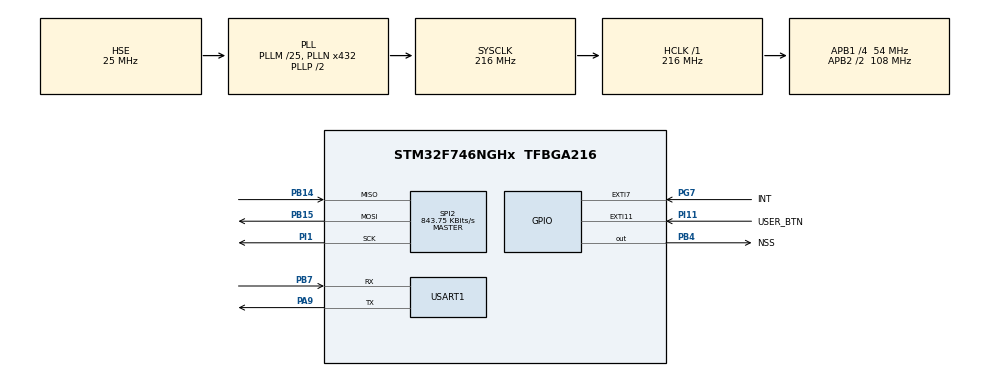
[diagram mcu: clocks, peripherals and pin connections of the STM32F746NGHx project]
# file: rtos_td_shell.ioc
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FREERTOS.Tasks01=defaultTask,0,128,StartDefaultTask,Default,NULL,Dynamic,NULL,NULL
FREERTOS.configCHECK_FOR_STACK_OVERFLOW=2
FREERTOS.configGENERATE_RUN_TIME_STATS=1
FREERTOS.configRECORD_STACK_HIGH_ADDRESS=1
FREERTOS.configTOTAL_HEAP_SIZE=15360
FREERTOS.configUSE_NEWLIB_REENTRANT=1
FREERTOS.configUSE_STATS_FORMATTING_FUNCTIONS=1
FREERTOS.configUSE_TRACE_FACILITY=1
Mcu.Family=STM32F7
Mcu.Name=STM32F746NGHx
Mcu.Package=TFBGA216
NVIC.PriorityGroup=NVIC_PRIORITYGROUP_4
NVIC.TIM6_DAC_IRQn=true\:15\:0\:false\:false\:true\:false\:false\:true\:true
NVIC.TimeBase=TIM6_DAC_IRQn
NVIC.TimeBaseIP=TIM6
NVIC.USART1_IRQn=true\:5\:0\:false\:false\:true\:true\:true\:true\:true
PA13.Mode=Serial_Wire
PA13.Signal=SYS_JTMS-SWDIO
PA14.Mode=Serial_Wire
PA14.Signal=SYS_JTCK-SWCLK
PA9.Mode=Asynchronous
PA9.Signal=USART1_TX
PB14.Mode=Full_Duplex_Master
PB14.Signal=SPI2_MISO
PB15.Mode=Full_Duplex_Master
PB15.Signal=SPI2_MOSI
PB4.GPIO_Label=NSS
PB4.PinState=GPIO_PIN_SET
PB4.Signal=GPIO_Output
PB4.Stacked=true
PB7.Mode=Asynchronous
PB7.Signal=USART1_RX
PG7.GPIO_Label=INT
PG7.Signal=GPXTI7
PH0/OSC_IN.Mode=HSE-External-Oscillator
PH0/OSC_IN.Signal=RCC_OSC_IN
PH1/OSC_OUT.Mode=HSE-External-Oscillator
PH1/OSC_OUT.Signal=RCC_OSC_OUT
PI1.Mode=Full_Duplex_Master
PI1.Signal=SPI2_SCK
PI11.GPIO_Label=USER_BTN
PI11.Signal=GPXTI11
ProjectManager.HeapSize=0x00
ProjectManager.StackSize=0x400
ProjectManager.TargetToolchain=STM32CubeIDE
RCC.AHBFreq_Value=216000000
RCC.APB1CLKDivider=RCC_HCLK_DIV4
RCC.APB1Freq_Value=54000000
RCC.APB1TimFreq_Value=108000000
RCC.APB2CLKDivider=RCC_HCLK_DIV2
RCC.APB2Freq_Value=108000000
RCC.APB2TimFreq_Value=216000000
RCC.CortexFreq_Value=216000000
RCC.HCLKFreq_Value=216000000
RCC.HSE_VALUE=25000000
RCC.HSI_VALUE=16000000
RCC.LSE_VALUE=32768
RCC.PLLM=25
RCC.PLLN=432
RCC.PLLSourceVirtual=RCC_PLLSOURCE_HSE
RCC.SYSCLKFreq_VALUE=216000000
RCC.SYSCLKSource=RCC_SYSCLKSOURCE_PLLCLK
RCC.USBFreq_Value=216000000
RCC.VCOOutputFreq_Value=432000000
SPI2.BaudRatePrescaler=SPI_BAUDRATEPRESCALER_64
SPI2.CLKPhase=SPI_PHASE_2EDGE
SPI2.CLKPolarity=SPI_POLARITY_HIGH
SPI2.CalculateBaudRate=843.75 KBits/s
SPI2.DataSize=SPI_DATASIZE_8BIT
SPI2.Direction=SPI_DIRECTION_2LINES
SPI2.Mode=SPI_MODE_MASTER
SPI2.VirtualType=VM_MASTER
TIM2.Prescaler=10800
USART1.VirtualMode-Asynchronous=VM_ASYNC
VP_FREERTOS_VS_CMSIS_V1.Mode=CMSIS_V1
VP_SYS_VS_tim6.Mode=TIM6
VP_TIM2_VS_ClockSourceINT.Mode=Internal
board=STM32F746G-DISCO

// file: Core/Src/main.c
/* USER CODE BEGIN Header */
/**
 ******************************************************************************
 * @file           : main.c
 * @brief          : Main program body
 ******************************************************************************
 * @attention
 *
 * Copyright (c) 2022 STMicroelectronics.
 * All rights reserved.
 *
 * This software is licensed under terms that can be found in the LICENSE file
 * in the root directory of this software component.
 * If no LICENSE file comes with this software, it is provided AS-IS.
 *
 ******************************************************************************
 */
/* USER CODE END Header */
#include "main.h"
#include "cmsis_os.h"
#include "spi.h"
#include "tim.h"
#include "usart.h"
#include "gpio.h"

/* USER CODE BEGIN Includes */
#include <stdio.h>
#include <stdlib.h>
#include "shell.h"
#include "adxl.h"
/* USER CODE END Includes */

/* USER CODE BEGIN PD */
#define TASK_SHELL_STACK_DEPTH 512
#define TASK_SHELL_PRIORITY 1
/* USER CODE END PD */

/* USER CODE BEGIN PV */
TaskHandle_t h_task_shell = NULL;

/* USER CODE END PV */

void SystemClock_Config(void);
void MX_FREERTOS_Init(void);

/* USER CODE BEGIN 0 */

SemaphoreHandle_t sem1;
TaskHandle_t handle_blink_led, handle_spam, tache1, tache2, tache3 , tache4, tache5, handle_stats;
int delay_led, delay_spam;
char * message;

int __io_putchar(int ch)
{
	HAL_UART_Transmit(&huart1, (uint8_t*)&ch, 1, HAL_MAX_DELAY);

	return ch;
}

void ftache1 (void * unused)
{
	for(;;)
	{
		//		printf("Tache 1 \r\n");
		vTaskDelay(1);
	}
}

void task_spam (void * unused)
{
	vTaskSuspend(0); //Suspend la tache en cours (0 veux dire ca)

	for(;;)
	{
		printf("%s\r\n", message);
		vTaskDelay(delay_spam);
	}
}

void task_blink_led (void * unused)
{
	vTaskSuspend(0); //Suspend la tache en cours (0 veux dire ca)

	for(;;)
	{
		//		HAL_GPIO_TogglePin(LED_GPIO_Port,LED_Pin);
		//		printf("Je clignote\r\n");
		vTaskDelay(delay_led);
	}
}

void task_stats (void * unused)
{
	vTaskSuspend(0); //Suspend la tache en cours (0 veux dire ca)

	for(;;)
	{
		//		HAL_GPIO_TogglePin(LED_GPIO_Port,LED_Pin);
		//		printf("Je clignote\r\n");
		vTaskDelay(1);
	}
}

void HAL_UART_RxCpltCallback(UART_HandleTypeDef *huart)
{
	if (huart->Instance == USART1)
	{
		shell_uart_receive_irq_cb();	// C'est la fonction qui donne le sémaphore!
	}
}

int fonction(int argc, char ** argv)
{
	printf("Je suis une fonction bidon\r\n");

	printf("argc = %d\r\n", argc);

	for (int i = 0 ; i < argc ; i++)
	{
		printf("arg %d = %s\r\n", i, argv[i]);
	}

	return 0;
}

int addition(int argc, char ** argv)
{
	if (argc == 3)
	{
		int a, b;
		a = atoi(argv[1]);
		b = atoi(argv[2]);
		printf("%d + %d = %d\r\n", a, b, a+b);

		return 0;
	}
	else
	{
		printf("Erreur, pas le bon nombre d'arguments\r\n");
		return -1;
	}
}

int led(int argc, char ** argv)
{
	int delay = atoi(argv[1]); // Conversion chaine de caractère (ASCII) vers Integer
	if (delay == 0)
	{
		//		HAL_GPIO_WritePin(LED_GPIO_Port,LED_Pin, 0);
		printf("Je m'éteins\r\n");
		vTaskSuspend(handle_blink_led); //Suspend la tache
	}
	else
	{
		delay_led = delay;
		vTaskResume(handle_blink_led); //Reprend la tache la ou elle en etait

	}
}

int spam(int argc, char ** argv){

	message = argv[1];

	if (strcmp(message, "stop")==0)
	{
		vTaskSuspend(handle_spam);
	}
	else
	{
		if (argc < 3)
		{
			printf("error args\r\n");
			return -1;
		}
		delay_spam = atoi(argv[2]);
		vTaskResume(handle_spam);
	}

	return 0;
}

//Création d'un buffer de 400 octets pour écrire dedans
char text_buffer[400];

int stats(int argc, char ** argv){
	//écrit les données dans le buffer
	vTaskGetRunTimeStats(text_buffer);
	printf("%s\r\n", text_buffer);

	vTaskList(text_buffer);
	printf("%s\r\n", text_buffer);

	return 0;
}

HAL_GPIO_EXTI_Callback(uint16_t GPIO_Pin)
{
	// TODO
}

int SPI(int argc, char ** argv){
	uint8_t address_DEVID = 0x00, address_INT_enable = 0x2E, address_PWR_CTL = 0x2D;
	uint8_t data = 0, data_INT_enable = 0, data_PWR_CTL = 0;
	uint16_t size = 1;

	uint8_t data6[6];

	receive(address_DEVID, &data, size);

	printf("DEVID = 0x%X\r\n", data);

	uint8_t test = 0;

	transmit (address_INT_enable, &data_INT_enable, size);
	transmit (address_PWR_CTL, &data_PWR_CTL, size);

	receive(address_INT_enable, &test, 1);
	printf("INT_Enable = %x\r\n", test);
	receive(address_PWR_CTL, &test, 1);
	printf("PWR_CTL = %x\r\n", test);

	receive(address_INT_enable, &data_INT_enable, size);
	data_INT_enable = data_INT_enable | 0x80;

	receive(address_PWR_CTL, &data_PWR_CTL, size);
	data_PWR_CTL = data_PWR_CTL | 0x08;

	transmit (address_INT_enable, &data_INT_enable, size);
	transmit (address_PWR_CTL, &data_PWR_CTL, size);

	receive(address_INT_enable, &test, 1);
	printf("INT_Enable = %x\r\n", test);
	receive(address_PWR_CTL, &test, 1);
	printf("PWR_CTL = %x\r\n", test);

	//	for (int i = 0; i < 4; i++){

	while (HAL_GPIO_ReadPin(INT_GPIO_Port, INT_Pin) == 0);	// polling sur INT1

	printf("INT1 detected\r\n");

	int16_t acc_x = (int16_t)(data6[0]) | (int16_t)(data6[1])<<8;
	int16_t acc_y = (int16_t)(data6[2]) | (int16_t)(data6[3])<<8;
	int16_t acc_z = (int16_t)(data6[4]) | (int16_t)(data6[5])<<8;

	printf("Transmission de data : %d %d %d\r\n", acc_x, acc_y, acc_z);

	//	}

	return 0;
}

void task_shell(void * unused)
{
	shell_init();
	shell_add('f', fonction, "Une fonction inutile");
	shell_add('a', addition, "Effectue une somme");
	shell_add('l', led, "Faire clignoter une LED");
	shell_add('s', spam, "Envoyer du text dans la liaison serie");
	shell_add('t', stats, "Temps passé dans chaque tache");
	shell_add('d', SPI, "test la liaison SPI");
	shell_run();	// boucle infinie
}

//Tache appelé automatiquement si le systeme detecte un overflow
void vApplicationStackOverflowHook( TaskHandle_t xTask,
		signed char *pcTaskName )
{
	// allumer led
	//	HAL_GPIO_WritePin(LED_GPIO_Port,LED_Pin, 1);
	Error_Handler();
}

//Active le timer 2
void configureTimerForRunTimeStats(void)
{
	HAL_TIM_Base_Start(&htim2);
}

//Renvois la valeur du timer
unsigned long getRunTimeCounterValue(void)
{
	return __HAL_TIM_GET_COUNTER(&htim2);
}

/* USER CODE END 0 */

int main(void)
{

	/* MCU Configuration--------------------------------------------------------*/

	/* Reset of all peripherals, Initializes the Flash interface and the Systick. */
	HAL_Init();

	/* Configure the system clock */
	SystemClock_Config();

	/* Initialize all configured peripherals */
	MX_GPIO_Init();
	MX_USART1_UART_Init();
	MX_TIM2_Init();
	MX_SPI2_Init();
	/* USER CODE BEGIN 2 */

	sem1 = xSemaphoreCreateBinary();

	//Creation de tache pour depassement du tas
	/*while(1)
	{
	 int i;
	if( xTaskCreate(ftache1,	"BLINK_LED", 256, NULL,	3, &tache1) != pdPASS)
		{
			printf("Error creating task %d \r\n", i);
			Error_Handler();
		}
	i++;
	}*/

	//Creation de tache pour depassement de la pile
	xTaskCreate(ftache1,
			"tache1",
			50, //Taille de la pile
			NULL, //parameter
			0, //Priority
			&tache1 //Allocation de la mémoire pour créer l'objet
	);

	xTaskCreate(task_stats,
			"stats",
			50, //Taille de la pile
			NULL, //parameter
			0, //Priority
			&tache1 //Allocation de la mémoire pour créer l'objet
	);

	/*xTaskCreate(task_blink_led,
				"BLINK_LED",
				256, //Taille de la pile
				NULL, //parameter
				3, //Priority
				&handle_blink_led //Allocation de la mémoire pour créer l'objet
		);*/

	xTaskCreate(task_spam,
			"SPAM",
			256, //Taille de la pile
			NULL, //parameter
			2, //Priority
			&handle_spam //Allocation de la mémoire pour créer l'objet
	);

	if (xTaskCreate(task_shell, "Shell", TASK_SHELL_STACK_DEPTH, NULL, TASK_SHELL_PRIORITY, &h_task_shell) != pdPASS)
	{
		printf("Error creating task shell\r\n");
		Error_Handler();
	}

	vTaskStartScheduler();
	/* USER CODE END 2 */

	/* Call init function for freertos objects (in freertos.c) */
	MX_FREERTOS_Init();

	/* Start scheduler */
	osKernelStart();

	/* We should never get here as control is now taken by the scheduler */
	/* Infinite loop */
	while (1)
	{

	}
}

void SystemClock_Config(void)
{
	RCC_OscInitTypeDef RCC_OscInitStruct = {0};
	RCC_ClkInitTypeDef RCC_ClkInitStruct = {0};

	/** Configure the main internal regulator output voltage
	 */
	__HAL_RCC_PWR_CLK_ENABLE();
	__HAL_PWR_VOLTAGESCALING_CONFIG(PWR_REGULATOR_VOLTAGE_SCALE1);

	/** Initializes the RCC Oscillators according to the specified parameters
	 * in the RCC_OscInitTypeDef structure.
	 */
	RCC_OscInitStruct.OscillatorType = RCC_OSCILLATORTYPE_HSE;
	RCC_OscInitStruct.HSEState = RCC_HSE_ON;
	RCC_OscInitStruct.PLL.PLLState = RCC_PLL_ON;
	RCC_OscInitStruct.PLL.PLLSource = RCC_PLLSOURCE_HSE;
	RCC_OscInitStruct.PLL.PLLM = 25;
	RCC_OscInitStruct.PLL.PLLN = 432;
	RCC_OscInitStruct.PLL.PLLP = RCC_PLLP_DIV2;
	RCC_OscInitStruct.PLL.PLLQ = 2;
	if (HAL_RCC_OscConfig(&RCC_OscInitStruct) != HAL_OK)
	{
		Error_Handler();
	}

	/** Activate the Over-Drive mode
	 */
	if (HAL_PWREx_EnableOverDrive() != HAL_OK)
	{
		Error_Handler();
	}

	/** Initializes the CPU, AHB and APB buses clocks
	 */
	RCC_ClkInitStruct.ClockType = RCC_CLOCKTYPE_HCLK|RCC_CLOCKTYPE_SYSCLK
			|RCC_CLOCKTYPE_PCLK1|RCC_CLOCKTYPE_PCLK2;
	RCC_ClkInitStruct.SYSCLKSource = RCC_SYSCLKSOURCE_PLLCLK;
	RCC_ClkInitStruct.AHBCLKDivider = RCC_SYSCLK_DIV1;
	RCC_ClkInitStruct.APB1CLKDivider = RCC_HCLK_DIV4;
	RCC_ClkInitStruct.APB2CLKDivider = RCC_HCLK_DIV2;

	if (HAL_RCC_ClockConfig(&RCC_ClkInitStruct, FLASH_LATENCY_7) != HAL_OK)
	{
		Error_Handler();
	}
}

void HAL_TIM_PeriodElapsedCallback(TIM_HandleTypeDef *htim)
{
	if (htim->Instance == TIM6) {
		HAL_IncTick();
	}
}

void Error_Handler(void)
{
	__disable_irq();
	while (1)
	{
	}
}

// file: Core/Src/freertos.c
/* USER CODE BEGIN Header */
/**
  ******************************************************************************
  * File Name          : freertos.c
  * Description        : Code for freertos applications
  ******************************************************************************
  * @attention
  *
  * Copyright (c) 2022 STMicroelectronics.
  * All rights reserved.
  *
  * This software is licensed under terms that can be found in the LICENSE file
  * in the root directory of this software component.
  * If no LICENSE file comes with this software, it is provided AS-IS.
  *
  ******************************************************************************
  */
/* USER CODE END Header */

#include "FreeRTOS.h"
#include "task.h"
#include "main.h"
#include "cmsis_os.h"

osThreadId defaultTaskHandle;

void StartDefaultTask(void const * argument);

void MX_FREERTOS_Init(void); /* (MISRA C 2004 rule 8.1) */

/* GetIdleTaskMemory prototype (linked to static allocation support) */
void vApplicationGetIdleTaskMemory( StaticTask_t **ppxIdleTaskTCBBuffer, StackType_t **ppxIdleTaskStackBuffer, uint32_t *pulIdleTaskStackSize );

/* Hook prototypes */
void configureTimerForRunTimeStats(void);
unsigned long getRunTimeCounterValue(void);
void vApplicationStackOverflowHook(xTaskHandle xTask, signed char *pcTaskName);

/* USER CODE BEGIN 1 */
/* Functions needed when configGENERATE_RUN_TIME_STATS is on */
__weak void configureTimerForRunTimeStats(void)
{

}

__weak unsigned long getRunTimeCounterValue(void)
{
return 0;
}
/* USER CODE END 1 */

/* USER CODE BEGIN 4 */
__weak void vApplicationStackOverflowHook(xTaskHandle xTask, signed char *pcTaskName)
{
   /* Run time stack overflow checking is performed if
   configCHECK_FOR_STACK_OVERFLOW is defined to 1 or 2. This hook function is
   called if a stack overflow is detected. */
}
/* USER CODE END 4 */

/* USER CODE BEGIN GET_IDLE_TASK_MEMORY */
static StaticTask_t xIdleTaskTCBBuffer;
static StackType_t xIdleStack[configMINIMAL_STACK_SIZE];

void vApplicationGetIdleTaskMemory( StaticTask_t **ppxIdleTaskTCBBuffer, StackType_t **ppxIdleTaskStackBuffer, uint32_t *pulIdleTaskStackSize )
{
  *ppxIdleTaskTCBBuffer = &xIdleTaskTCBBuffer;
  *ppxIdleTaskStackBuffer = &xIdleStack[0];
  *pulIdleTaskStackSize = configMINIMAL_STACK_SIZE;
  /* place for user code */
}
/* USER CODE END GET_IDLE_TASK_MEMORY */

void MX_FREERTOS_Init(void) {

  /* Create the thread(s) */
  /* definition and creation of defaultTask */
  osThreadDef(defaultTask, StartDefaultTask, osPriorityNormal, 0, 128);
  defaultTaskHandle = osThreadCreate(osThread(defaultTask), NULL);

}

void StartDefaultTask(void const * argument)
{
  for(;;)
  {
    osDelay(1);
  }
}
